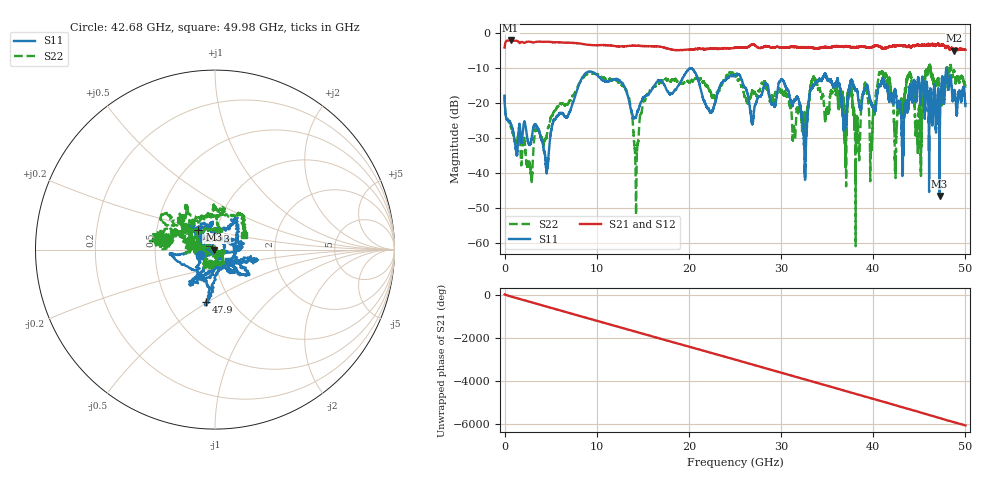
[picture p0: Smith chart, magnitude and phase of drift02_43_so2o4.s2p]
!Created with skrf (http://scikit-rf.org).
# Hz S RI R 50.0
!freq ReS11 ImS11 ReS21 ImS21 ReS12 ImS12 ReS22 ImS22
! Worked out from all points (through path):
!   10001 points, 300 kHz to 50 GHz, reference 50 ohm
!   highest |S21| = -1.99 dB at 645.3 MHz (marker M1); lowest = -4.9 dB at 48.77 GHz (marker M2)
!   group delay of S21, straight-line fit = 337 ps
!   lowest |S11| = -46.4 dB at 47.2 GHz (marker M3), VSWR 1.01, Z = 49.5 - j0.0938 ohm
!   |S11| at or under -10 dB: start of sweep to 20.07 GHz; 20.20725 GHz to 20.22181 GHz (14.55 MHz wide, 0.072 % of centre); 20.24 GHz to end of sweep (the widest 3 of 5)
!   |S22| runs from -60.8 to -8.7 dB; largest |S21 - S12| = 0.031
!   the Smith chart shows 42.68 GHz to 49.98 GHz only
!   S11 on the Smith chart (normalised r, x): 42.68 GHz: 0.85, -0.05; 43.93 GHz: 0.81, +0.18; 47.9 GHz: 0.77, -0.49; 49.98 GHz: 1.15, -0.15
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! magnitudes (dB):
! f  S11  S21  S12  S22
! 300 kHz  -17.9  -4.0  -4.0  -17.5
! 645.3 MHz  -25.7  -2.0  -2.0  -26.4
! 4.565 GHz  -39.8  -2.4  -2.4  -29.4
! 8.335 GHz  -13.0  -2.9  -2.9  -13.2
! 13.01 GHz  -15.3  -3.7  -3.6  -15.7
! 14.28 GHz  -23.8  -3.5  -3.5  -47.4
! 16.67 GHz  -13.4  -3.7  -3.7  -14.5
! 25 GHz  -12.1  -4.1  -4.1  -12.1
! 30.19 GHz  -13.4  -4.1  -4.1  -16.9
! 32.56 GHz  -39.8  -3.9  -4.0  -23.8
! 33.34 GHz  -15.7  -4.0  -4.1  -13.6
! 38.29 GHz  -16.7  -3.9  -3.9  -24.2
! 41.67 GHz  -18.3  -3.7  -3.9  -13.1
! 42.68 GHz  -21.2  -3.5  -3.4  -21.4
! 43.93 GHz  -16.8  -3.6  -3.6  -11.7
! 44.99 GHz  -14.6  -3.4  -3.3  -21.4
! 45.91 GHz  -18.1  -3.2  -3.2  -10.4
! 47.2 GHz  -46.4  -3.4  -3.4  -16.4
! 47.9 GHz  -10.5  -4.2  -4.2  -11.8
! 48.77 GHz  -17.0  -4.9  -4.8  -10.7
! 49.98 GHz  -20.1  -4.7  -4.6  -14.9
! 50 GHz  -20.7  -4.7  -4.6  -15.3
